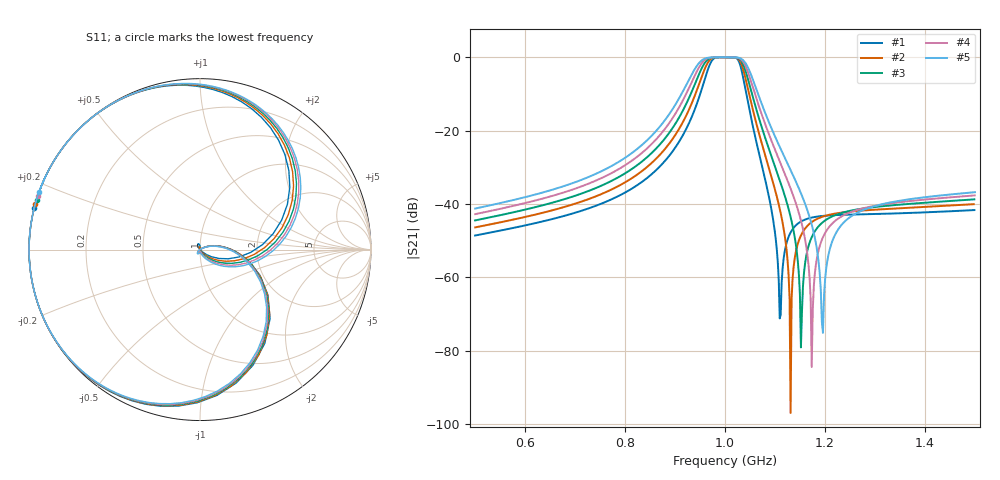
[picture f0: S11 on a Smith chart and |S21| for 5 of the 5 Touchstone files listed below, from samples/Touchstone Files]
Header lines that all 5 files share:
# HZ S RI R 50.000000
! FREQ(HZ)  reS11  imS11  reS21  imS21  reS12  imS12  reS22  imS22
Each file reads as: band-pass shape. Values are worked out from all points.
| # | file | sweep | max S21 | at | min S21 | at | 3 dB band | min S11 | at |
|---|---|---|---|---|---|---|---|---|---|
| 1 | filter01.s2p | 500.4 MHz to 1.499 GHz | 0.00 dB | 1.005 GHz | -71.2 dB | 1.109 GHz | 967.1 MHz-1.031 GHz | -48.6 dB | 1.014 GHz |
| 2 | filter02.s2p | 500.7 MHz to 1.497 GHz | 0.00 dB | 987.5 MHz | -97.0 dB | 1.131 GHz | 961.7 MHz-1.034 GHz | -55.4 dB | 987.5 MHz |
| 3 | filter03.s2p | 500.2 MHz to 1.499 GHz | 0.00 dB | 989.3 MHz | -79.1 dB | 1.152 GHz | 954.5 MHz-1.038 GHz | -90.5 dB | 989.3 MHz |
| 4 | filter04.s2p | 500.8 MHz to 1.499 GHz | 0.00 dB | 1.013 GHz | -84.5 dB | 1.173 GHz | 947.1 MHz-1.043 GHz | -48.1 dB | 1.013 GHz |
| 5 | filter05.s2p | 500.6 MHz to 1.5 GHz | 0.00 dB | 1.013 GHz | -75.1 dB | 1.196 GHz | 941.3 MHz-1.046 GHz | -47.4 dB | 1.013 GHz |
